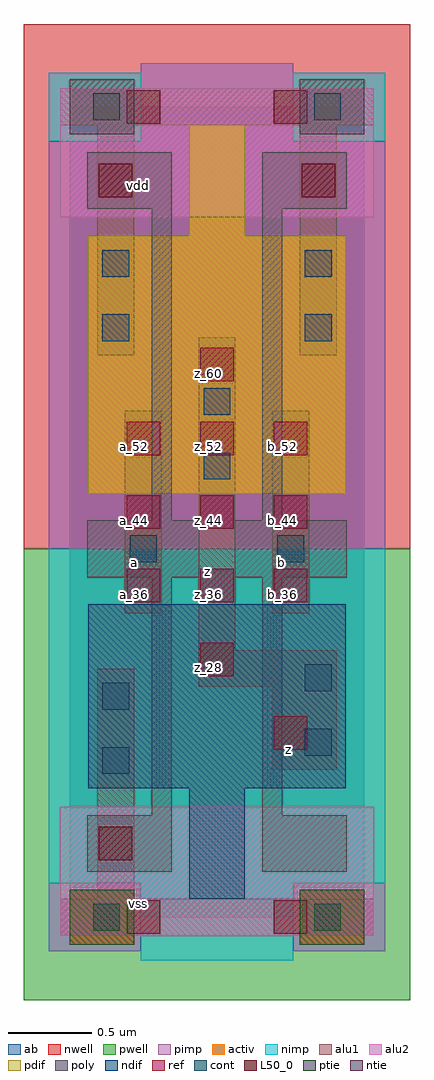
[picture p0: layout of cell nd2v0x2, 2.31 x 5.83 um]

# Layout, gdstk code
import gdstk
lib = gdstk.Library(unit=1e-6, precision=2.5e-09)
def R(c, l, rs):  # rectangles x0, y0, x1, y1
    for r in rs: c.add(gdstk.rectangle(r[:2], r[2:], *l))
def A(c, l, x, y, w, h, nx, ny, dx, dy):  # array of equal rectangles
    R(c, l, [(x+i*dx, y+j*dy, x+i*dx+w, y+j*dy+h) for i in range(nx) for j in range(ny)])
ndif = (3, 0)
pdif = (4, 0)
ntie = (5, 0)
ptie = (6, 0)
ref = (24, 0)
cont = (25, 0)
pwell = (41, 0)
nwell = (42, 0)
activ = (43, 0)
pimp = (44, 0)
nimp = (45, 0)
poly = (46, 0)
alu1 = (49, 0)
L50_0 = (50, 0)
alu2 = (51, 0)
ab = (63, 0)

nd2v0x2 = lib.new_cell('nd2v0x2')
R(nd2v0x2, ndif, [(0.715,0.11,1.045,0.77), (0.11,0.77,1.65,1.87)])
R(nd2v0x2, pdif, [(0.11,2.53,1.65,4.07), (0.715,4.07,1.045,4.73)])
R(nd2v0x2, ntie, [(0,4.675,0.385,5.005), (1.375,4.675,1.76,5.005)])
R(nd2v0x2, ptie, [(0,-0.165,0.385,0.165), (1.375,-0.165,1.76,0.165)])
A(nd2v0x2, ref, 0.34, 1.88, 0.2, 0.2, 3, 3, 0.44, 0.44)
R(nd2v0x2, ref, [(1.22,1,1.42,1.2), (0.78,1.44,0.98,1.64), (0.78,3.2,0.98,3.4)])
R(nd2v0x2, cont, [(0.14,-0.08,0.3,0.08), (1.46,-0.08,1.62,0.08), (0.195,0.855,0.355,1.015), (1.405,0.965,1.565,1.125), (0.195,1.24,0.355,1.4), (1.405,1.35,1.565,1.51), (0.36,2.12,0.52,2.28), (1.24,2.12,1.4,2.28), (0.8,2.615,0.96,2.775), (0.8,3,0.96,3.16), (0.195,3.44,0.355,3.6), (1.405,3.44,1.565,3.6), (0.195,3.825,0.355,3.985), (1.405,3.825,1.565,3.985), (0.14,4.76,0.3,4.92), (1.46,4.76,1.62,4.92)])
R(nd2v0x2, pwell, [(-0.275,-0.495,2.035,2.2)])
R(nd2v0x2, nwell, [(-0.275,2.2,2.035,5.335)])
R(nd2v0x2, activ, [(0,-0.165,0.385,0.165), (1.375,-0.165,1.76,0.165), (0.715,0.11,1.045,0.77), (0.11,0.77,1.65,1.87), (0.11,2.53,1.65,4.07), (0.715,4.07,1.045,4.73), (0,4.675,0.385,5.005), (1.375,4.675,1.76,5.005)])
R(nd2v0x2, pimp, [(-0.125,-0.205,0.425,0.205), (1.335,-0.205,1.885,0.205), (-0.125,2.2,1.885,4.635), (0.425,4.635,1.335,5.1)])
R(nd2v0x2, nimp, [(0.425,-0.26,1.335,0.205), (-0.125,0.205,1.885,2.2), (-0.125,4.635,0.425,5.045), (1.335,4.635,1.885,5.045)])
R(nd2v0x2, poly, [(0.105,0.27,0.61,0.61), (1.15,0.27,1.655,0.61), (0.49,0.61,0.61,2.03), (1.15,0.61,1.27,2.03), (0.105,2.03,0.775,2.37), (0.985,2.03,1.655,2.37), (0.49,2.37,0.61,4.23), (1.15,2.37,1.27,4.23), (0.105,4.23,0.61,4.57), (1.15,4.23,1.655,4.57)])
R(nd2v0x2, alu1, [(-0.055,-0.11,1.815,0.11), (0.165,0.11,0.385,1.485), (1.21,0.88,1.595,1.375), (0.77,1.375,1.595,1.595), (0.77,1.595,0.99,3.465), (0.33,1.815,0.55,3.025), (1.21,1.815,1.43,3.025), (0.165,3.355,0.385,4.73), (1.375,3.355,1.595,4.73), (-0.055,4.73,1.815,4.95)])
R(nd2v0x2, L50_0, [(0.34,-0.1,0.54,0.1), (1.22,-0.1,1.42,0.1), (0.175,0.34,0.375,0.54), (0.175,4.3,0.375,4.5), (1.385,4.3,1.585,4.5), (0.34,4.74,0.54,4.94), (1.22,4.74,1.42,4.94)])
R(nd2v0x2, alu2, [(-0.055,-0.11,1.815,0.66), (-0.055,4.18,1.815,4.95)])
R(nd2v0x2, ab, [(0,0,1.76,4.84)])
nd2v0x2.add(gdstk.Label('z', (1.305,1.0025), layer=49, texttype=0))
nd2v0x2.add(gdstk.Label('b', (1.265,2.1175), layer=49, texttype=0))
nd2v0x2.add(gdstk.Label('z', (0.825,2.0625), layer=49, texttype=0))
nd2v0x2.add(gdstk.Label('a', (0.385,2.1175), layer=49, texttype=0))
nd2v0x2.add(gdstk.Label('vss', (0.4125,0.0825), layer=51, texttype=0))
nd2v0x2.add(gdstk.Label('vdd', (0.4125,4.3725), layer=51, texttype=0))
nd2v0x2.add(gdstk.Label('z_20', (1.27,1.05), layer=24, texttype=0))
nd2v0x2.add(gdstk.Label('a_52', (0.39,2.81), layer=24, texttype=0))
nd2v0x2.add(gdstk.Label('a_44', (0.39,2.37), layer=24, texttype=0))
nd2v0x2.add(gdstk.Label('a_36', (0.39,1.93), layer=24, texttype=0))
nd2v0x2.add(gdstk.Label('z_28', (0.83,1.49), layer=24, texttype=0))
nd2v0x2.add(gdstk.Label('z_36', (0.83,1.93), layer=24, texttype=0))
nd2v0x2.add(gdstk.Label('z_52', (0.83,2.81), layer=24, texttype=0))
nd2v0x2.add(gdstk.Label('z_44', (0.83,2.37), layer=24, texttype=0))
nd2v0x2.add(gdstk.Label('b_44', (1.27,2.37), layer=24, texttype=0))
nd2v0x2.add(gdstk.Label('b_36', (1.27,1.93), layer=24, texttype=0))
nd2v0x2.add(gdstk.Label('b_52', (1.27,2.81), layer=24, texttype=0))
nd2v0x2.add(gdstk.Label('z_60', (0.83,3.25), layer=24, texttype=0))

lib.write_gds('nd2v0x2.gds')
